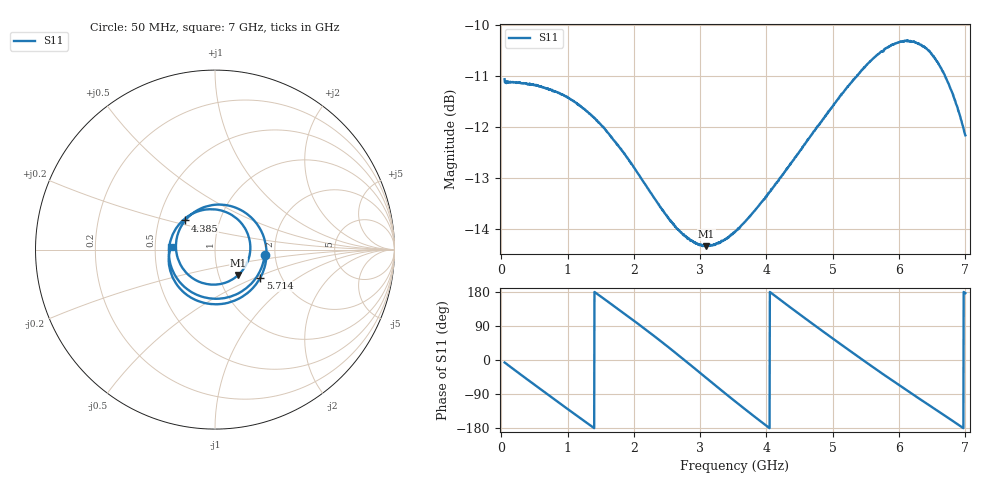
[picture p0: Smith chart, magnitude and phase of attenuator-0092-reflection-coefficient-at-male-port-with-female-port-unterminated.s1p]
! This is a Touchstone .s1p format file
! It should be saved with .s1p extension
! HEWLETT PACKARD,8720D,0,7.74
! Date = 21 Mar 2018
! Time = 01:37:42
! S11 measured = FALSE
! S21 measured = FALSE
! S12 measured = FALSE
! S22 measured = TRUE
! Start frequency = 0.050000000 GHz
! Centre frequency  = 3.524999936 GHz
! Stop frequency  = 7.000000000 GHz
! IF bandwidth = 300 Hz
! Smoothing = OFF
! Smoothing aperture = 1.000000 %
! Averaging = OFF
! Averaging factor = 16
! Source power = On
! Source power = Auto mode
! Output power level = 5.000000 dBm
! Retrace power = Off
! Testset switching = Continuous
! Number of sweeps for test set switching (0=hold, 1=continuous,2-999 = number of sweeps) = 1
! Step sweep = On (check)
! List frequency sweep = Off (check)
! IFBW setting for a list-frequency table in swept list mode = Disabled (Check)
! Power setting for a list-frequency table in swept list mode = Disabled (Check)
! Measurement mode = Chop A and B
! Port extensions = OFF
! Port extension 1 = 0.000000 ps
! Port extension 2 = 57.970000 ps
! Points  = 1601
! Calibration kit = 3.5 mm D
! Power = 5.000000 dBm
! Frequency magS22 angS22
! Magnitudes are in log form
! Angles are in degrees
# MHz S DB R 50
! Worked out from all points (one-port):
!   1601 points, 50 MHz to 7 GHz, reference 50 ohm
!   lowest |S11| = -14.3 dB at 3.091 GHz (marker M1), VSWR 1.48, Z = 62.1 - j18.1 ohm
!   |S11| at or under -10 dB: start of sweep to end of sweep
!   S11 on the Smith chart (normalised r, x): 50 MHz: 1.76, -0.12; 4.385 GHz: 0.68, +0.23; 5.714 GHz: 1.56, -0.54; 7 GHz: 0.60, +0.02
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50  -11.06 -6.6
267.1875  -11.14 -35.0
519.125  -11.18 -67.8
714.5938  -11.26 -93.0
918.75  -11.37 -118.9
1140.281  -11.55 -147.0
1348.781  -11.76 -173.3
1557.281  -12.03 160.4
1787.5  -12.41 131.2
2191.469  -13.17 78.5
2656.25  -14.00 14.8
2864.75  -14.22 -14.8
3090.625  -14.34 -47.2
3307.812  -14.26 -78.3
3525  -14.06 -108.8
3976.75  -13.40 -170.6
4385.062  -12.69 135.5
4393.75  -12.67 134.4
4623.969  -12.24 104.6
4832.469  -11.89 78.0
5040.969  -11.52 51.5
5262.5  -11.15 23.6
5488.375  -10.82 -4.3
5714.25  -10.54 -31.9
6131.25  -10.32 -81.8
6365.812  -10.42 -109.2
6613.406  -10.80 -138.0
7000  -12.16 176.4
